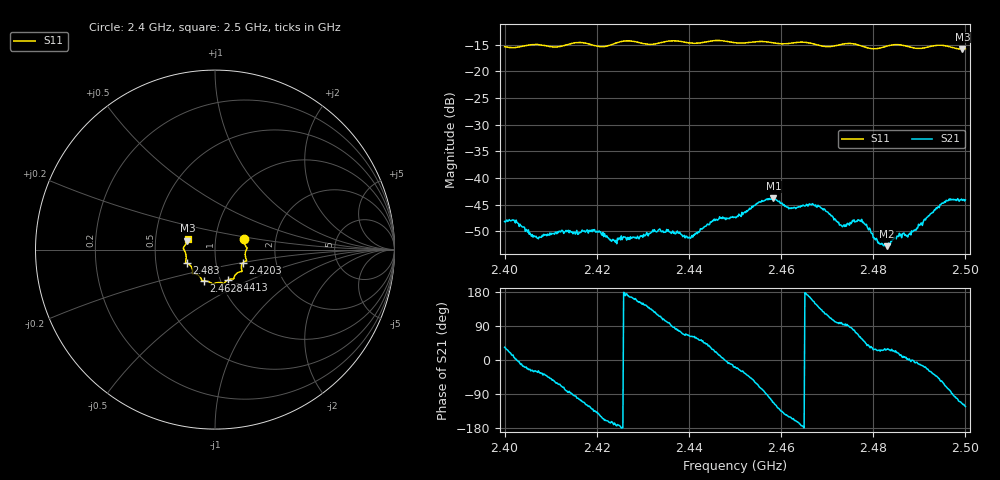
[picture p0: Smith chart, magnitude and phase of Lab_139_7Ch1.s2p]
# Hz S RI R
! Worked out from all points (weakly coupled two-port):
!   601 points, 2.4 GHz to 2.5 GHz, reference 50 ohm
!   highest |S21| = -43.81 dB at 2.4583 GHz (marker M1); lowest = -52.8 dB at 2.483 GHz (marker M2)
!   lowest |S11| = -15.8 dB at 2.4993 GHz (marker M3), VSWR 1.39, Z = 36.5 + j3.72 ohm
!   |S11| at or under -10 dB: start of sweep to end of sweep
!   S12 and S22 are empty: the file has one direction only
!   S11 on the Smith chart (normalised r, x): 2.4 GHz: 1.37, +0.16; 2.4203 GHz: 1.35, -0.21; 2.4413 GHz: 1.09, -0.38; 2.4628 GHz: 0.83, -0.30; 2.483 GHz: 0.72, -0.11; 2.5 GHz: 0.73, +0.09
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2.4e9  0.1606 0.0569  0.00326 0.00217  0 0  0 0
2.402167e9  0.1639 0.0335  0.00392 0.000391  0 0  0 0
2.4075e9  0.178 0.00606  0.00237 -0.00149  0 0  0 0
2.416667e9  0.1762 -0.0617  -0.000907 -0.003  0 0  0 0
2.420333e9  0.1549 -0.0739  -0.0024 -0.00198  0 0  0 0
2.423833e9  0.1479 -0.1069  -0.00253 -0.000616  0 0  0 0
2.433333e9  0.1081 -0.1486  -0.00155 0.00285  0 0  0 0
2.441333e9  0.0743 -0.168  0.00158 0.00257  0 0  0 0
2.4455e9  0.0511 -0.1877  0.00376 0.00167  0 0  0 0
2.45e9  0.0292 -0.1837  0.00411 -0.00132  0 0  0 0
2.458333e9  -0.025 -0.1837  -0.0024 -0.00598  0 0  0 0
2.462833e9  -0.0631 -0.1748  -0.00495 -0.00197  0 0  0 0
2.466667e9  -0.0744 -0.1675  -0.00529 0.00195  0 0  0 0
2.473167e9  -0.1194 -0.1345  -0.000457 0.00352  0 0  0 0
2.477333e9  -0.1241 -0.1221  0.00211 0.00331  0 0  0 0
2.481e9  -0.1387 -0.0875  0.00224 0.00104  0 0  0 0
2.483e9  -0.155 -0.0766  0.00202 0.0011  0 0  0 0
2.483333e9  -0.1572 -0.0755  0.00217 0.00114  0 0  0 0
2.487667e9  -0.1612 -0.0556  0.00296 1.21e-05  0 0  0 0
2.495333e9  -0.1746 0.0124  0.00268 -0.00521  0 0  0 0
2.499333e9  -0.1542 0.0496  -0.00267 -0.00557  0 0  0 0
2.5e9  -0.1527 0.0586  -0.00336 -0.00526  0 0  0 0
